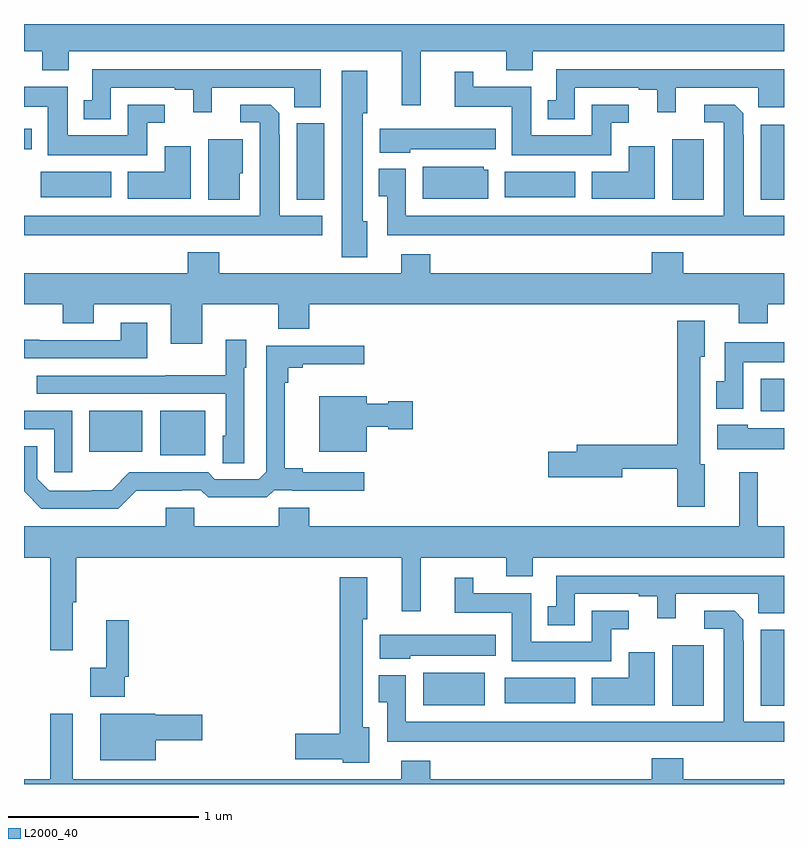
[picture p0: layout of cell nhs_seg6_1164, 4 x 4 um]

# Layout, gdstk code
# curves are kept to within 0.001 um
import gdstk
lib = gdstk.Library(unit=1e-6, precision=1e-09)
def R(c, l, rs):  # rectangles x0, y0, x1, y1
    for r in rs: c.add(gdstk.rectangle(r[:2], r[2:], *l))
def P(c, l, *ps):  # polygons
    for p in ps: c.add(gdstk.Polygon(p, *l))
L2000_40 = (2000, 40)

nhs_seg6_1164 = lib.new_cell('nhs_seg6_1164')
R(nhs_seg6_1164, L2000_40, [(186.413,923.912,186.577,924.229), (186.878,923.912,187,924.313), (185.102,923.915,185.425,924.085), (185.529,923.924,185.902,924.058), (183.716,925.229,183.955,925.465), (183.344,925.25,183.622,925.465), (186.878,925.463,187,925.633), (184.436,926.576,184.579,926.977), (186.413,926.576,186.577,926.893), (186.878,926.576,187,926.971), (183.087,926.588,183.46,926.722), (185.529,926.588,185.902,926.722), (183,926.84,183.04,926.95)])
P(nhs_seg6_1164, L2000_40, [(185.087,927.356),(185.537,927.356),(185.537,927.257),(185.677,927.257),(185.677,927.356),(187,927.356),(187,927.5),(183,927.5),(183,927.356),(183.095,927.356),(183.095,927.257),(183.235,927.257),(183.235,927.356),(184.988,927.356),(184.988,927.072),(185.087,927.072)],
  [(185.898,927.165),(186.236,927.165),(186.236,927.153),(186.332,927.153),(186.332,927.036),(186.43,927.036),(186.43,927.165),(186.864,927.165),(186.864,927.062),(187,927.062),(187,927.261),(185.802,927.261),(185.802,927.099),(185.756,927.099),(185.756,926.999),(185.898,926.999)],
  [(183.456,927.165),(183.794,927.165),(183.794,927.153),(183.89,927.153),(183.89,927.036),(183.988,927.036),(183.988,927.165),(184.422,927.165),(184.422,927.062),(184.561,927.062),(184.561,927.261),(183.36,927.261),(183.36,927.099),(183.314,927.099),(183.314,926.999),(183.456,926.999)],
  [(184.807,926.463),(184.783,926.463),(184.783,927.03),(184.807,927.03),(184.807,927.253),(184.673,927.253),(184.673,926.273),(184.807,926.273)],
  [(186.091,926.979),(186.184,926.979),(186.184,927.075),(185.987,927.075),(185.987,926.914),(185.671,926.914),(185.671,927.169),(185.365,927.169),(185.365,927.25),(185.267,927.25),(185.267,927.065),(185.567,927.065),(185.567,926.81),(186.091,926.81)],
  [(183.649,926.979),(183.742,926.979),(183.742,927.075),(183.545,927.075),(183.545,926.914),(183.229,926.914),(183.229,927.169),(183,927.169),(183,927.065),(183.125,927.065),(183.125,926.81),(183.649,926.81)],
  [(187,926.491),(186.787,926.491),(186.786,927.029),(186.74,927.075),(186.579,927.075),(186.579,926.982),(186.683,926.982),(186.683,926.491),(185.01,926.491),(185.01,926.737),(184.868,926.737),(184.868,926.593),(184.913,926.593),(184.913,926.387),(187,926.387)],
  [(184.57,926.491),(184.345,926.491),(184.344,927.029),(184.298,927.075),(184.137,927.075),(184.137,926.982),(184.241,926.982),(184.241,926.491),(183,926.491),(183,926.387),(184.57,926.387)],
  [(185.034,926.84),(185.482,926.84),(185.482,926.95),(184.872,926.95),(184.872,926.822),(185.034,926.822)],
  [(184.135,926.715),(184.15,926.715),(184.15,926.893),(183.971,926.893),(183.971,926.576),(184.135,926.576)],
  [(183.877,926.857),(183.74,926.857),(183.74,926.722),(183.545,926.722),(183.545,926.579),(183.877,926.579)],
  [(186.319,926.857),(186.182,926.857),(186.182,926.722),(185.987,926.722),(185.987,926.579),(186.319,926.579)],
  [(185.443,926.733),(185.421,926.733),(185.421,926.749),(185.099,926.749),(185.099,926.579),(185.443,926.579)],
  [(183.937,926.024),(184.337,926.024),(184.337,925.896),(184.501,925.896),(184.501,926.024),(186.761,926.024),(186.761,925.925),(186.914,925.925),(186.914,926.024),(187,926.024),(187,926.188),(186.47,926.188),(186.47,926.299),(186.305,926.299),(186.305,926.188),(185.138,926.188),(185.138,926.287),(184.985,926.287),(184.985,926.188),(184.028,926.188),(184.028,926.299),(183.863,926.299),(183.863,926.188),(183,926.188),(183,926.024),(183.203,926.024),(183.203,925.925),(183.367,925.925),(183.367,926.024),(183.773,926.024),(183.773,925.818),(183.937,925.818)],
  [(186.583,925.182),(186.559,925.182),(186.559,925.749),(186.583,925.749),(186.583,925.939),(186.437,925.939),(186.437,925.286),(185.909,925.286),(185.909,925.25),(185.76,925.25),(185.76,925.115),(186.148,925.115),(186.148,925.158),(186.437,925.158),(186.437,924.96),(186.583,924.96)],
  [(183.649,925.927),(183.509,925.927),(183.509,925.836),(183.079,925.836),(183.079,925.838),(183,925.838),(183,925.74),(183.649,925.74)],
  [(184.158,925.692),(184.171,925.692),(184.171,925.837),(184.062,925.837),(184.062,925.651),(183.745,925.651),(183.745,925.65),(183.067,925.65),(183.067,925.554),(184.062,925.554),(184.062,925.332),(184.046,925.332),(184.046,925.189),(184.158,925.189)],
  [(186.786,925.721),(187,925.721),(187,925.825),(186.689,925.825),(186.689,925.62),(186.644,925.62),(186.644,925.476),(186.786,925.476)],
  [(183.59,925.043),(183.83,925.043),(183.83,925.047),(183.93,925.047),(183.97,925.008),(184.277,925.008),(184.317,925.047),(184.411,925.047),(184.411,925.043),(184.792,925.043),(184.792,925.14),(184.468,925.14),(184.468,925.163),(184.373,925.163),(184.373,925.613),(184.391,925.613),(184.391,925.69),(184.468,925.69),(184.468,925.709),(184.792,925.709),(184.792,925.806),(184.275,925.806),(184.275,925.143),(184.236,925.104),(184.005,925.104),(183.969,925.14),(183.555,925.14),(183.461,925.046),(183.356,925.046),(183.356,925.044),(183.132,925.044),(183.069,925.107),(183.069,925.278),(183,925.278),(183,925.041),(183.092,924.948),(183.495,924.948)],
  [(184.804,925.379),(184.917,925.379),(184.917,925.367),(185.047,925.367),(185.047,925.514),(184.917,925.514),(184.917,925.501),(184.804,925.501),(184.804,925.54),(184.553,925.54),(184.553,925.25),(184.804,925.25)],
  [(183.255,925.464),(183,925.464),(183,925.368),(183.159,925.368),(183.159,925.14),(183.255,925.14)],
  [(187,925.372),(186.81,925.372),(186.81,925.39),(186.648,925.39),(186.648,925.262),(187,925.262)],
  [(186.764,925.141),(186.764,924.856),(184.502,924.856),(184.502,924.954),(184.342,924.954),(184.342,924.856),(183.897,924.856),(183.897,924.954),(183.746,924.954),(183.746,924.856),(183,924.856),(183,924.692),(183.139,924.692),(183.139,924.204),(183.257,924.204),(183.257,924.456),(183.275,924.456),(183.275,924.692),(184.988,924.692),(184.988,924.408),(185.087,924.408),(185.087,924.692),(185.537,924.692),(185.537,924.593),(185.677,924.593),(185.677,924.692),(187,924.692),(187,924.856),(186.863,924.856),(186.863,925.141)],
  [(185.898,924.501),(186.236,924.501),(186.236,924.489),(186.332,924.489),(186.332,924.372),(186.43,924.372),(186.43,924.501),(186.864,924.501),(186.864,924.398),(187,924.398),(187,924.597),(185.802,924.597),(185.802,924.435),(185.756,924.435),(185.756,924.335),(185.898,924.335)],
  [(184.816,923.799),(184.783,923.799),(184.783,924.366),(184.807,924.366),(184.807,924.589),(184.661,924.589),(184.661,923.765),(184.428,923.765),(184.428,923.63),(184.677,923.63),(184.677,923.612),(184.816,923.612)],
  [(186.091,924.315),(186.184,924.315),(186.184,924.411),(185.987,924.411),(185.987,924.25),(185.671,924.25),(185.671,924.505),(185.365,924.505),(185.365,924.586),(185.267,924.586),(185.267,924.401),(185.567,924.401),(185.567,924.146),(186.091,924.146)],
  [(187,923.827),(186.787,923.827),(186.786,924.365),(186.74,924.411),(186.579,924.411),(186.579,924.318),(186.683,924.318),(186.683,923.827),(185.01,923.827),(185.01,924.073),(184.868,924.073),(184.868,923.929),(184.913,923.929),(184.913,923.723),(187,923.723)],
  [(183.531,924.064),(183.551,924.064),(183.551,924.361),(183.434,924.361),(183.434,924.113),(183.348,924.113),(183.348,923.96),(183.531,923.96)],
  [(185.034,924.176),(185.482,924.176),(185.482,924.286),(184.872,924.286),(184.872,924.158),(185.034,924.158)],
  [(186.319,924.193),(186.182,924.193),(186.182,924.058),(185.987,924.058),(185.987,923.915),(186.319,923.915)],
  [(183.694,923.729),(183.937,923.729),(183.937,923.864),(183.69,923.864),(183.69,923.869),(183.401,923.869),(183.401,923.624),(183.694,923.624)],
  [(187,923.524),(186.47,923.524),(186.47,923.635),(186.305,923.635),(186.305,923.524),(185.138,923.524),(185.138,923.623),(184.985,923.623),(184.985,923.524),(183.256,923.524),(183.256,923.869),(183.139,923.869),(183.139,923.524),(183,923.524),(183,923.5),(187,923.5)])

lib.write_gds('nhs_seg6_1164.gds')
